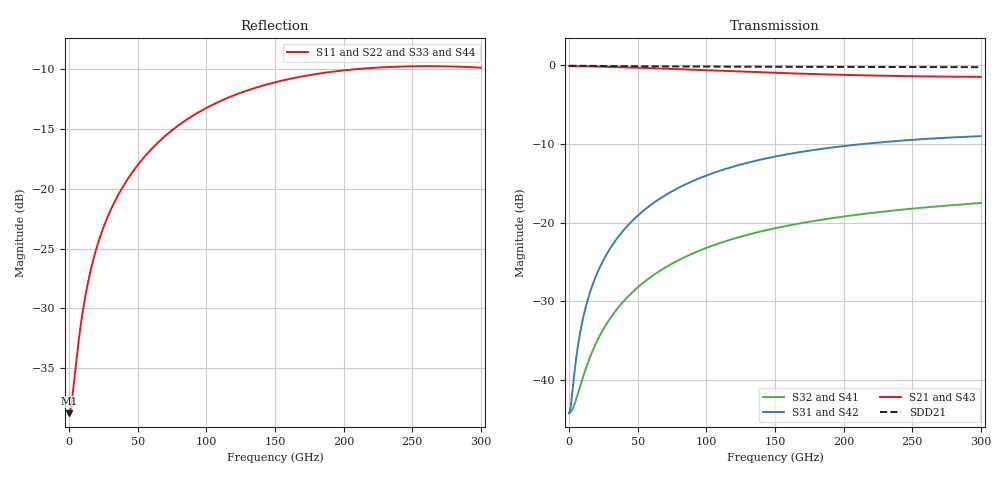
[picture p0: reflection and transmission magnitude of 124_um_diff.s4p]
! Created with skrf (http://scikit-rf.org).
# Hz S RI R 50.0
!freq ReS11 ImS11 ReS12 ImS12 ReS13 ImS13
! ReS14 ImS14
! ReS21 ImS21 ReS22 ImS22 ReS23 ImS23
! ReS24 ImS24
! ReS31 ImS31 ReS32 ImS32 ReS33 ImS33
! ReS34 ImS34
! ReS41 ImS41 ReS42 ImS42 ReS43 ImS43
! ReS44 ImS44
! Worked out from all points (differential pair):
!   3000 points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, 100 MHz to 300 GHz, reference 50 ohm
!   strongest paths, dB at 100 MHz, 75.1 GHz, 150.1 GHz, 225.1 GHz, 300 GHz:
!     S21: -0.1, -0.5, -0.9, -1.3, -1.5
!     S43: -0.1, -0.5, -0.9, -1.3, -1.5
!     S31: -44.2, -16.0, -11.6, -9.8, -9.0
!     S42: -44.2, -16.0, -11.6, -9.8, -9.0
!     S32: -44.2, -25.2, -20.7, -18.7, -17.5
!     S41: -44.2, -25.2, -20.7, -18.7, -17.5
!   taken as a pair (ports 1,3 in; 2,4 out), SDD21 dB: 0.0, -0.1, -0.2, -0.2, -0.2
!   lowest |S11| = -38.8 dB at 100 MHz (marker M1), VSWR 1.02, Z = 51.2 + j0.0281 ohm
!   |S11| at or under -10 dB: start of sweep to 212.9 GHz
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1e8  0.0115 0.000275  0.9886 -0.000666  0.00614 0.00023  -0.00619 -7.37e-05
     0.9886 -0.000665  0.0115 0.000275  -0.00618 -7.35e-05  0.00615 0.00023
     0.00615 0.00023  -0.00618 -7.38e-05  0.0114 0.000276  0.9886 -0.000665
     -0.00619 -7.34e-05  0.00615 0.00023  0.9887 -0.000666  0.0115 0.000274
9.2e9  0.014 0.0249  0.9853 -0.0608  0.00769 0.021  -0.00718 -0.00668
       0.9853 -0.0608  0.014 0.0249  -0.00718 -0.00666  0.00769 0.021
       0.00769 0.021  -0.00718 -0.00668  0.014 0.025  0.9853 -0.0608
       -0.00718 -0.00665  0.00769 0.021  0.9853 -0.0609  0.014 0.0248
2.01e10  0.0223 0.0519  0.974 -0.13  0.0132 0.045  -0.0107 -0.0138
         0.974 -0.13  0.0223 0.0518  -0.0107 -0.0137  0.0132 0.0449
         0.0132 0.045  -0.0107 -0.0138  0.0224 0.052  0.974 -0.13
         -0.0107 -0.0137  0.0132 0.0449  0.9739 -0.13  0.0223 0.0518
3.85e10  0.0436 0.09  0.9432 -0.2389  0.03 0.0816  -0.021 -0.0225
         0.9432 -0.2389  0.0436 0.0896  -0.021 -0.0224  0.03 0.0815
         0.0301 0.0816  -0.021 -0.0225  0.0436 0.0899  0.9432 -0.2389
         -0.021 -0.0224  0.03 0.0815  0.9432 -0.2389  0.0436 0.0897
6.49e10  0.0847 0.1308  0.8779 -0.38  0.067 0.1228  -0.0415 -0.0255
         0.8778 -0.3799  0.0845 0.1303  -0.0414 -0.0253  0.0668 0.1228
         0.067 0.1229  -0.0415 -0.0255  0.0847 0.1308  0.8779 -0.38
         -0.0414 -0.0253  0.0668 0.1228  0.8778 -0.3799  0.0845 0.1303
1.735e11  0.2651 0.1323  0.4729 -0.7464  0.2496 0.1394  -0.0801 0.0615
          0.473 -0.7459  0.2647 0.1316  -0.0797 0.0616  0.2493 0.1397
          0.2496 0.1394  -0.0801 0.0615  0.2651 0.1323  0.4729 -0.7464
          -0.0797 0.0616  0.2493 0.1397  0.4731 -0.7459  0.2647 0.1316
3e11  0.3193 -0.00906  -0.0542 -0.8443  0.3549 -0.00462  0.0463 0.1253
      -0.053 -0.8441  0.3192 -0.0101  0.0468 0.1252  0.355 -0.00365
      0.355 -0.0045  0.0463 0.1252  0.3193 -0.00905  -0.0541 -0.8444
      0.0468 0.1252  0.355 -0.0037  -0.0533 -0.8437  0.3192 -0.0101
